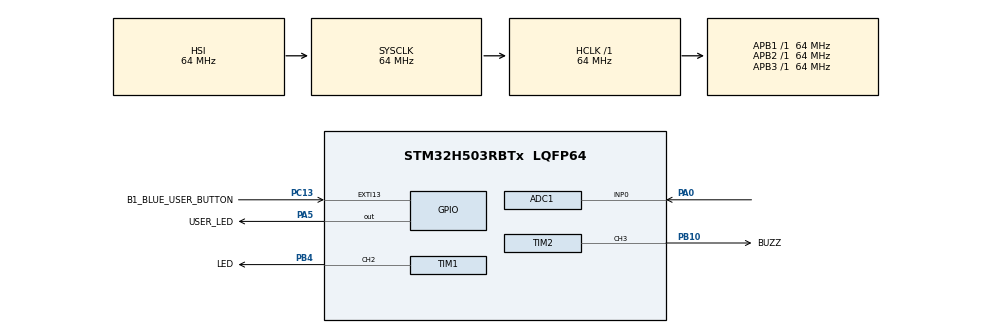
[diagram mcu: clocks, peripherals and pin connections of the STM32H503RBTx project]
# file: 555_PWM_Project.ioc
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ADC1.Channel-1\#ChannelRegularConversion=ADC_CHANNEL_0
ADC1.MonitoredBy-1\#ChannelRegularConversion=__NULL
ADC1.NbrOfConversionFlag=1
ADC1.OffsetNumber-1\#ChannelRegularConversion=ADC_OFFSET_NONE
ADC1.Rank-1\#ChannelRegularConversion=1
ADC1.SamplingTime-1\#ChannelRegularConversion=ADC_SAMPLETIME_2CYCLES_5
ADC1.master=1
BOOTPATH.BootPathName=LEGACY
BOOTPATH.UserSelectedBootPath=LEGACY
Mcu.Family=STM32H5
Mcu.Name=STM32H503RBTx
Mcu.Package=LQFP64
NVIC.PriorityGroup=NVIC_PRIORITYGROUP_4
PA0.Signal=ADCx_INP0
PA3.GPIO_Label=T_VCP_RX
PA3.Signal=USART3_RX
PA4.GPIO_Label=T_VCP_TX
PA4.Signal=USART3_TX
PA5.GPIO_Label=USER_LED
PA5.Signal=GPIO_Output
PB10.GPIO_Label=BUZZ
PB10.Signal=S_TIM2_CH3
PB4(NJTRST).GPIO_Label=LED
PB4(NJTRST).Signal=S_TIM1_CH2
PC13.GPIO_Label=B1_BLUE_USER_BUTTON
PC13.Signal=GPXTI13
ProjectManager.HeapSize=0x200
ProjectManager.StackSize=0x400
ProjectManager.TargetToolchain=STM32CubeIDE
RCC.ADCFreq_Value=64000000
RCC.AHBFreq_Value=64000000
RCC.APB1Freq_Value=64000000
RCC.APB1TimFreq_Value=64000000
RCC.APB2Freq_Value=64000000
RCC.APB2TimFreq_Value=64000000
RCC.APB3Freq_Value=64000000
RCC.CSI_VALUE=4000000
RCC.CortexFreq_Value=64000000
RCC.EPOD_VALUE=4000000
RCC.HCLKFreq_Value=64000000
RCC.HSE_VALUE=24000000
RCC.HSI48_VALUE=48000000
RCC.HSIDiv=RCC_HSI_DIV1
RCC.HSI_VALUE=64000000
RCC.LSE_VALUE=32768
RCC.LSIRC_VALUE=32000
RCC.PLLN=32
RCC.SYSCLKFreq_VALUE=64000000
RCC.USBFreq_Value=48000000
RCC.VCOOutputFreq_Value=128000000
SH.ADCx_INP0.0=ADC1_INP0,IN0-Single-Ended
SH.S_TIM1_CH2.0=TIM1_CH2,PWM Generation2 CH2
SH.S_TIM2_CH3.0=TIM2_CH3,PWM Generation3 CH3
TIM1.Channel-PWM\ Generation2\ CH2=TIM_CHANNEL_2
TIM2.Channel-PWM\ Generation3\ CH3=TIM_CHANNEL_3
TIM2.PeriodNoDither=39999
VP_BOOTPATH_VS_BOOTPATH.Mode=BP_Activate
VP_CORTEX_M33_NS_VS_Hclk.Mode=Hclk_Mode
VP_MEMORYMAP_VS_MEMORYMAP.Mode=CurAppReg
VP_PWR_VS_DBSignals.Mode=DisableDeadBatterySignals
VP_PWR_VS_LPOM.Mode=PowerOptimisation
VP_PWR_VS_SECSignals.Mode=Security/Privilege
board=NUCLEO-H503RB

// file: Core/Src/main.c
/* USER CODE BEGIN Header */
/**
  ******************************************************************************
  * @file           : main.c
  * @brief          : Main program body
  ******************************************************************************
  * @attention
  *
  * Copyright (c) 2026 STMicroelectronics.
  * All rights reserved.
  *
  * This software is licensed under terms that can be found in the LICENSE file
  * in the root directory of this software component.
  * If no LICENSE file comes with this software, it is provided AS-IS.
  *
  ******************************************************************************
  */
/* USER CODE END Header */
#include "main.h"

/* USER CODE BEGIN PD */
uint16_t pot = 0;
/* USER CODE END PD */

ADC_HandleTypeDef hadc1;

TIM_HandleTypeDef htim1;
TIM_HandleTypeDef htim2;

void SystemClock_Config(void);
static void MX_GPIO_Init(void);
static void MX_ADC1_Init(void);
static void MX_TIM1_Init(void);
static void MX_TIM2_Init(void);

int main(void)
{

  /* MCU Configuration--------------------------------------------------------*/

  /* Reset of all peripherals, Initializes the Flash interface and the Systick. */
  HAL_Init();

  /* Configure the system clock */
  SystemClock_Config();

  /* Initialize all configured peripherals */
  MX_GPIO_Init();
  MX_ADC1_Init();
  MX_TIM1_Init();
  MX_TIM2_Init();
  /* USER CODE BEGIN 2 */

HAL_TIM_PWM_Start(&htim1, TIM_CHANNEL_2);
HAL_TIM_PWM_Start(&htim2, TIM_CHANNEL_3);

// BUZZER TEST
//__HAL_TIM_SET_AUTORELOAD(&htim2, 15999);        // 1000 Hz
//__HAL_TIM_SET_COMPARE(&htim2, TIM_CHANNEL_3, 8000);  // 50% duty cycle

ADC_ChannelConfTypeDef sConfig = {0};
sConfig.Rank         = ADC_REGULAR_RANK_1;
sConfig.SamplingTime = ADC_SAMPLETIME_2CYCLES_5;
sConfig.SingleDiff   = ADC_SINGLE_ENDED;
sConfig.OffsetNumber = ADC_OFFSET_NONE;
sConfig.Offset       = 0;
  /* USER CODE END 2 */

  /* Infinite loop */
  /* USER CODE BEGIN WHILE */
  while (1)
  {
	    sConfig.Channel = ADC_CHANNEL_0;
	    HAL_ADC_ConfigChannel(&hadc1, &sConfig);
	    HAL_ADC_Start(&hadc1);
	    HAL_ADC_PollForConversion(&hadc1, HAL_MAX_DELAY);
	    pot = HAL_ADC_GetValue(&hadc1);
	    HAL_ADC_Stop(&hadc1);

	    uint32_t period = 79999 - (pot * 76000 / 4095);   //Maps the pot range to the range of frequencies, between 200 Hz and 4000 Hz

	    __HAL_TIM_SET_COMPARE(&htim1, TIM_CHANNEL_2,pot*16);

	    __HAL_TIM_SET_AUTORELOAD(&htim2, period);
	    if (__HAL_TIM_GET_COUNTER(&htim2) > period)
	    {
	    __HAL_TIM_SET_COUNTER(&htim2,0);
	    }
	    __HAL_TIM_SET_COMPARE(&htim2, TIM_CHANNEL_3, period / 2); // Divides Period in half so that duty cycle is 50% regardless of the period.
    /* USER CODE END WHILE */

  }
}

void SystemClock_Config(void)
{
  RCC_OscInitTypeDef RCC_OscInitStruct = {0};
  RCC_ClkInitTypeDef RCC_ClkInitStruct = {0};

  /** Configure the main internal regulator output voltage
  */
  __HAL_PWR_VOLTAGESCALING_CONFIG(PWR_REGULATOR_VOLTAGE_SCALE3);

  while(!__HAL_PWR_GET_FLAG(PWR_FLAG_VOSRDY)) {}

  /** Initializes the RCC Oscillators according to the specified parameters
  * in the RCC_OscInitTypeDef structure.
  */
  RCC_OscInitStruct.OscillatorType = RCC_OSCILLATORTYPE_HSI;
  RCC_OscInitStruct.HSIState = RCC_HSI_ON;
  RCC_OscInitStruct.HSIDiv = RCC_HSI_DIV1;
  RCC_OscInitStruct.HSICalibrationValue = RCC_HSICALIBRATION_DEFAULT;
  RCC_OscInitStruct.PLL.PLLState = RCC_PLL_NONE;
  if (HAL_RCC_OscConfig(&RCC_OscInitStruct) != HAL_OK)
  {
    Error_Handler();
  }

  /** Initializes the CPU, AHB and APB buses clocks
  */
  RCC_ClkInitStruct.ClockType = RCC_CLOCKTYPE_HCLK|RCC_CLOCKTYPE_SYSCLK
                              |RCC_CLOCKTYPE_PCLK1|RCC_CLOCKTYPE_PCLK2
                              |RCC_CLOCKTYPE_PCLK3;
  RCC_ClkInitStruct.SYSCLKSource = RCC_SYSCLKSOURCE_HSI;
  RCC_ClkInitStruct.AHBCLKDivider = RCC_SYSCLK_DIV1;
  RCC_ClkInitStruct.APB1CLKDivider = RCC_HCLK_DIV1;
  RCC_ClkInitStruct.APB2CLKDivider = RCC_HCLK_DIV1;
  RCC_ClkInitStruct.APB3CLKDivider = RCC_HCLK_DIV1;

  if (HAL_RCC_ClockConfig(&RCC_ClkInitStruct, FLASH_LATENCY_3) != HAL_OK)
  {
    Error_Handler();
  }

  /** Configure the programming delay
  */
  __HAL_FLASH_SET_PROGRAM_DELAY(FLASH_PROGRAMMING_DELAY_1);
}

static void MX_ADC1_Init(void)
{

  ADC_ChannelConfTypeDef sConfig = {0};

  /** Common config
  */
  hadc1.Instance = ADC1;
  hadc1.Init.ClockPrescaler = ADC_CLOCK_ASYNC_DIV2;
  hadc1.Init.Resolution = ADC_RESOLUTION_12B;
  hadc1.Init.DataAlign = ADC_DATAALIGN_RIGHT;
  hadc1.Init.ScanConvMode = ADC_SCAN_DISABLE;
  hadc1.Init.EOCSelection = ADC_EOC_SINGLE_CONV;
  hadc1.Init.LowPowerAutoWait = DISABLE;
  hadc1.Init.ContinuousConvMode = DISABLE;
  hadc1.Init.NbrOfConversion = 1;
  hadc1.Init.DiscontinuousConvMode = DISABLE;
  hadc1.Init.ExternalTrigConv = ADC_SOFTWARE_START;
  hadc1.Init.ExternalTrigConvEdge = ADC_EXTERNALTRIGCONVEDGE_NONE;
  hadc1.Init.DMAContinuousRequests = DISABLE;
  hadc1.Init.SamplingMode = ADC_SAMPLING_MODE_NORMAL;
  hadc1.Init.Overrun = ADC_OVR_DATA_PRESERVED;
  hadc1.Init.OversamplingMode = DISABLE;
  if (HAL_ADC_Init(&hadc1) != HAL_OK)
  {
    Error_Handler();
  }

  /** Configure Regular Channel
  */
  sConfig.Channel = ADC_CHANNEL_0;
  sConfig.Rank = ADC_REGULAR_RANK_1;
  sConfig.SamplingTime = ADC_SAMPLETIME_2CYCLES_5;
  sConfig.SingleDiff = ADC_SINGLE_ENDED;
  sConfig.OffsetNumber = ADC_OFFSET_NONE;
  sConfig.Offset = 0;
  if (HAL_ADC_ConfigChannel(&hadc1, &sConfig) != HAL_OK)
  {
    Error_Handler();
  }

}

static void MX_TIM1_Init(void)
{

  TIM_MasterConfigTypeDef sMasterConfig = {0};
  TIM_OC_InitTypeDef sConfigOC = {0};
  TIM_BreakDeadTimeConfigTypeDef sBreakDeadTimeConfig = {0};

  htim1.Instance = TIM1;
  htim1.Init.Prescaler = 0;
  htim1.Init.CounterMode = TIM_COUNTERMODE_UP;
  htim1.Init.Period = 65535;
  htim1.Init.ClockDivision = TIM_CLOCKDIVISION_DIV1;
  htim1.Init.RepetitionCounter = 0;
  htim1.Init.AutoReloadPreload = TIM_AUTORELOAD_PRELOAD_DISABLE;
  if (HAL_TIM_PWM_Init(&htim1) != HAL_OK)
  {
    Error_Handler();
  }
  sMasterConfig.MasterOutputTrigger = TIM_TRGO_RESET;
  sMasterConfig.MasterOutputTrigger2 = TIM_TRGO2_RESET;
  sMasterConfig.MasterSlaveMode = TIM_MASTERSLAVEMODE_DISABLE;
  if (HAL_TIMEx_MasterConfigSynchronization(&htim1, &sMasterConfig) != HAL_OK)
  {
    Error_Handler();
  }
  sConfigOC.OCMode = TIM_OCMODE_PWM1;
  sConfigOC.Pulse = 0;
  sConfigOC.OCPolarity = TIM_OCPOLARITY_HIGH;
  sConfigOC.OCNPolarity = TIM_OCNPOLARITY_HIGH;
  sConfigOC.OCFastMode = TIM_OCFAST_DISABLE;
  sConfigOC.OCIdleState = TIM_OCIDLESTATE_RESET;
  sConfigOC.OCNIdleState = TIM_OCNIDLESTATE_RESET;
  if (HAL_TIM_PWM_ConfigChannel(&htim1, &sConfigOC, TIM_CHANNEL_2) != HAL_OK)
  {
    Error_Handler();
  }
  sBreakDeadTimeConfig.OffStateRunMode = TIM_OSSR_DISABLE;
  sBreakDeadTimeConfig.OffStateIDLEMode = TIM_OSSI_DISABLE;
  sBreakDeadTimeConfig.LockLevel = TIM_LOCKLEVEL_OFF;
  sBreakDeadTimeConfig.DeadTime = 0;
  sBreakDeadTimeConfig.BreakState = TIM_BREAK_DISABLE;
  sBreakDeadTimeConfig.BreakPolarity = TIM_BREAKPOLARITY_HIGH;
  sBreakDeadTimeConfig.BreakFilter = 0;
  sBreakDeadTimeConfig.BreakAFMode = TIM_BREAK_AFMODE_INPUT;
  sBreakDeadTimeConfig.Break2State = TIM_BREAK2_DISABLE;
  sBreakDeadTimeConfig.Break2Polarity = TIM_BREAK2POLARITY_HIGH;
  sBreakDeadTimeConfig.Break2Filter = 0;
  sBreakDeadTimeConfig.Break2AFMode = TIM_BREAK_AFMODE_INPUT;
  sBreakDeadTimeConfig.AutomaticOutput = TIM_AUTOMATICOUTPUT_DISABLE;
  if (HAL_TIMEx_ConfigBreakDeadTime(&htim1, &sBreakDeadTimeConfig) != HAL_OK)
  {
    Error_Handler();
  }
  HAL_TIM_MspPostInit(&htim1);

}

static void MX_TIM2_Init(void)
{

  TIM_MasterConfigTypeDef sMasterConfig = {0};
  TIM_OC_InitTypeDef sConfigOC = {0};

  htim2.Instance = TIM2;
  htim2.Init.Prescaler = 0;
  htim2.Init.CounterMode = TIM_COUNTERMODE_UP;
  htim2.Init.Period = 39999;
  htim2.Init.ClockDivision = TIM_CLOCKDIVISION_DIV1;
  htim2.Init.AutoReloadPreload = TIM_AUTORELOAD_PRELOAD_DISABLE;
  if (HAL_TIM_PWM_Init(&htim2) != HAL_OK)
  {
    Error_Handler();
  }
  sMasterConfig.MasterOutputTrigger = TIM_TRGO_RESET;
  sMasterConfig.MasterSlaveMode = TIM_MASTERSLAVEMODE_DISABLE;
  if (HAL_TIMEx_MasterConfigSynchronization(&htim2, &sMasterConfig) != HAL_OK)
  {
    Error_Handler();
  }
  sConfigOC.OCMode = TIM_OCMODE_PWM1;
  sConfigOC.Pulse = 0;
  sConfigOC.OCPolarity = TIM_OCPOLARITY_HIGH;
  sConfigOC.OCFastMode = TIM_OCFAST_DISABLE;
  if (HAL_TIM_PWM_ConfigChannel(&htim2, &sConfigOC, TIM_CHANNEL_3) != HAL_OK)
  {
    Error_Handler();
  }
  HAL_TIM_MspPostInit(&htim2);

}

static void MX_GPIO_Init(void)
{
  GPIO_InitTypeDef GPIO_InitStruct = {0};

  /* GPIO Ports Clock Enable */
  __HAL_RCC_GPIOC_CLK_ENABLE();
  __HAL_RCC_GPIOA_CLK_ENABLE();
  __HAL_RCC_GPIOB_CLK_ENABLE();

  /*Configure GPIO pin Output Level */
  HAL_GPIO_WritePin(USER_LED_GPIO_Port, USER_LED_Pin, GPIO_PIN_RESET);

  /*Configure GPIO pin : B1_BLUE_USER_BUTTON_Pin */
  GPIO_InitStruct.Pin = B1_BLUE_USER_BUTTON_Pin;
  GPIO_InitStruct.Mode = GPIO_MODE_IT_RISING;
  GPIO_InitStruct.Pull = GPIO_NOPULL;
  HAL_GPIO_Init(B1_BLUE_USER_BUTTON_GPIO_Port, &GPIO_InitStruct);

  /*Configure GPIO pins : T_VCP_RX_Pin T_VCP_TX_Pin */
  GPIO_InitStruct.Pin = T_VCP_RX_Pin|T_VCP_TX_Pin;
  GPIO_InitStruct.Mode = GPIO_MODE_AF_PP;
  GPIO_InitStruct.Pull = GPIO_NOPULL;
  GPIO_InitStruct.Speed = GPIO_SPEED_FREQ_LOW;
  GPIO_InitStruct.Alternate = GPIO_AF13_USART3;
  HAL_GPIO_Init(GPIOA, &GPIO_InitStruct);

  /*Configure GPIO pin : USER_LED_Pin */
  GPIO_InitStruct.Pin = USER_LED_Pin;
  GPIO_InitStruct.Mode = GPIO_MODE_OUTPUT_PP;
  GPIO_InitStruct.Pull = GPIO_NOPULL;
  GPIO_InitStruct.Speed = GPIO_SPEED_FREQ_LOW;
  HAL_GPIO_Init(USER_LED_GPIO_Port, &GPIO_InitStruct);

}

void Error_Handler(void)
{
  __disable_irq();
  while (1)
  {
  }
}
